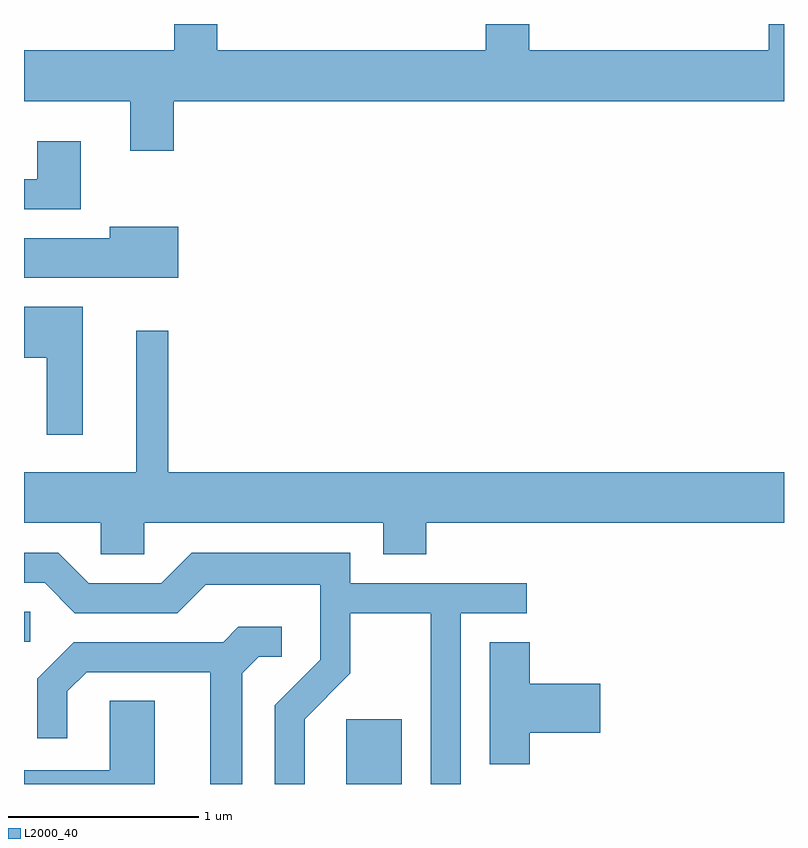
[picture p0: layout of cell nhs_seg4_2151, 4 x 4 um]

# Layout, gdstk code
import gdstk
lib = gdstk.Library(unit=1e-6, precision=1e-09)
def R(c, l, rs):  # rectangles x0, y0, x1, y1
    for r in rs: c.add(gdstk.rectangle(r[:2], r[2:], *l))
def P(c, l, *ps):  # polygons
    for p in ps: c.add(gdstk.Polygon(p, *l))
L2000_40 = (2000, 40)

nhs_seg4_2151 = lib.new_cell('nhs_seg4_2151')
R(nhs_seg4_2151, L2000_40, [(249.306,1339.982,249.599,1340.324), (247.611,1340.731,247.643,1340.889)])
P(nhs_seg4_2151, L2000_40, [(248.399,1343.576),(251.611,1343.576),(251.611,1343.982),(251.531,1343.982),(251.531,1343.844),(250.269,1343.844),(250.269,1343.982),(250.041,1343.982),(250.041,1343.844),(248.629,1343.844),(248.629,1343.982),(248.401,1343.982),(248.401,1343.844),(247.611,1343.844),(247.611,1343.576),(248.171,1343.576),(248.171,1343.316),(248.399,1343.316)],
  [(247.909,1343.364),(247.681,1343.364),(247.681,1343.164),(247.611,1343.164),(247.611,1343.006),(247.909,1343.006)],
  [(248.424,1342.914),(248.061,1342.914),(248.061,1342.854),(247.611,1342.854),(247.611,1342.646),(248.424,1342.646)],
  [(247.919,1342.494),(247.611,1342.494),(247.611,1342.226),(247.731,1342.226),(247.731,1341.821),(247.919,1341.821)],
  [(248.244,1341.356),(249.501,1341.356),(249.501,1341.191),(249.729,1341.191),(249.729,1341.356),(251.611,1341.356),(251.611,1341.624),(248.369,1341.624),(248.369,1342.368),(248.201,1342.368),(248.201,1341.624),(247.611,1341.624),(247.611,1341.356),(248.016,1341.356),(248.016,1341.191),(248.244,1341.191)],
  [(249.089,1340.324),(249.329,1340.564),(249.329,1340.881),(249.751,1340.881),(249.751,1339.982),(249.909,1339.982),(249.909,1340.881),(250.258,1340.881),(250.258,1341.039),(249.329,1341.039),(249.329,1341.199),(248.494,1341.199),(248.334,1341.039),(247.952,1341.039),(247.792,1341.199),(247.611,1341.199),(247.611,1341.041),(247.719,1341.041),(247.879,1340.881),(248.417,1340.881),(248.567,1341.031),(249.171,1341.031),(249.171,1340.637),(248.931,1340.397),(248.931,1339.982),(249.089,1339.982)],
  [(248.759,1340.564),(248.847,1340.651),(248.968,1340.651),(248.968,1340.809),(248.739,1340.809),(248.659,1340.729),(247.874,1340.729),(247.681,1340.537),(247.681,1340.223),(247.839,1340.223),(247.839,1340.469),(247.942,1340.571),(248.591,1340.571),(248.591,1339.982),(248.759,1339.982)],
  [(250.274,1340.251),(250.644,1340.251),(250.644,1340.509),(250.274,1340.509),(250.274,1340.729),(250.061,1340.729),(250.061,1340.086),(250.274,1340.086)],
  [(248.299,1340.419),(248.061,1340.419),(248.061,1340.054),(247.611,1340.054),(247.611,1339.982),(248.299,1339.982)])

lib.write_gds('nhs_seg4_2151.gds')
